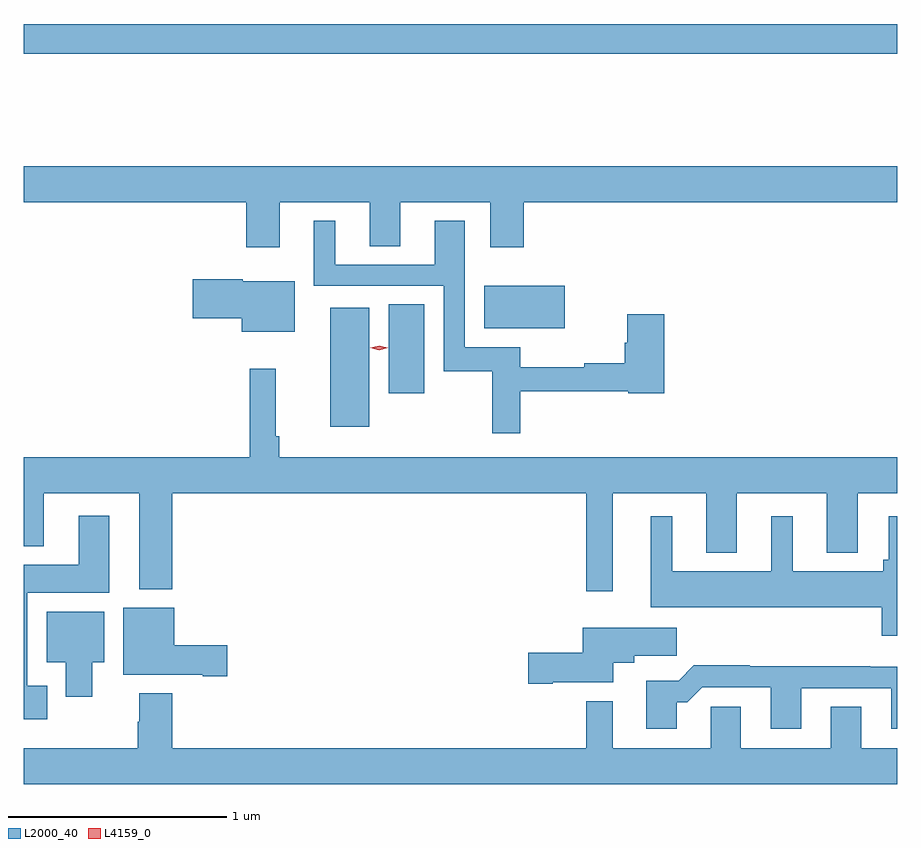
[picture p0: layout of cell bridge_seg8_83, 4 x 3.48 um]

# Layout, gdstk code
import gdstk
lib = gdstk.Library(unit=1e-6, precision=1e-09)
def R(c, l, rs):  # rectangles x0, y0, x1, y1
    for r in rs: c.add(gdstk.rectangle(r[:2], r[2:], *l))
def P(c, l, *ps):  # polygons
    for p in ps: c.add(gdstk.Polygon(p, *l))
L2000_40 = (2000, 40)
L4159_0 = (4159, 0)

bridge_seg8_83 = lib.new_cell('bridge_seg8_83')
R(bridge_seg8_83, L2000_40, [(759.167,1130.123,759.346,1130.668), (759.434,1130.277,759.598,1130.684), (759.872,1130.576,760.24,1130.77), (757.763,1131.832,761.763,1131.968)])
P(bridge_seg8_83, L2000_40, [(757.763,1131.152),(758.783,1131.152),(758.783,1130.946),(758.935,1130.946),(758.935,1131.152),(759.347,1131.152),(759.347,1130.95),(759.487,1130.95),(759.487,1131.152),(759.899,1131.152),(759.899,1130.946),(760.052,1130.946),(760.052,1131.152),(761.763,1131.152),(761.763,1131.316),(757.763,1131.316)],
  [(760.037,1130.286),(760.53,1130.286),(760.53,1130.278),(760.697,1130.278),(760.697,1130.638),(760.526,1130.638),(760.526,1130.508),(760.514,1130.508),(760.514,1130.414),(760.33,1130.414),(760.33,1130.396),(760.037,1130.396),(760.037,1130.487),(759.783,1130.487),(759.783,1131.067),(759.644,1131.067),(759.644,1130.865),(759.19,1130.865),(759.19,1131.067),(759.092,1131.067),(759.092,1130.769),(759.687,1130.769),(759.687,1130.379),(759.909,1130.379),(759.909,1130.094),(760.037,1130.094)],
  [(759.004,1130.791),(758.766,1130.791),(758.766,1130.799),(758.538,1130.799),(758.538,1130.621),(758.762,1130.621),(758.762,1130.558),(759.004,1130.558)],
  [(760.459,1129.82),(760.889,1129.82),(760.889,1129.547),(761.029,1129.547),(761.029,1129.82),(761.441,1129.82),(761.441,1129.547),(761.581,1129.547),(761.581,1129.82),(761.763,1129.82),(761.763,1129.984),(758.933,1129.984),(758.933,1130.08),(758.916,1130.08),(758.916,1130.389),(758.797,1130.389),(758.797,1129.984),(757.763,1129.984),(757.763,1129.577),(757.855,1129.577),(757.855,1129.82),(758.291,1129.82),(758.291,1129.379),(758.444,1129.379),(758.444,1129.82),(760.338,1129.82),(760.338,1129.371),(760.459,1129.371)],
  [(757.87,1128.937),(757.78,1128.937),(757.78,1129.364),(758.155,1129.364),(758.155,1129.717),(758.015,1129.717),(758.015,1129.492),(757.763,1129.492),(757.763,1128.785),(757.87,1128.785)],
  [(761.763,1129.714),(761.723,1129.714),(761.723,1129.515),(761.698,1129.515),(761.698,1129.462),(761.284,1129.462),(761.284,1129.714),(761.186,1129.714),(761.186,1129.462),(760.732,1129.462),(760.732,1129.714),(760.634,1129.714),(760.634,1129.298),(761.693,1129.298),(761.693,1129.167),(761.763,1129.167)],
  [(758.695,1129.124),(758.452,1129.124),(758.452,1129.294),(758.219,1129.294),(758.219,1128.989),(758.582,1128.989),(758.582,1128.982),(758.695,1128.982)],
  [(758.077,1129.046),(758.131,1129.046),(758.131,1129.276),(757.868,1129.276),(757.868,1129.046),(757.955,1129.046),(757.955,1128.888),(758.077,1128.888)],
  [(760.186,1128.953),(760.462,1128.953),(760.462,1129.043),(760.558,1129.043),(760.558,1129.075),(760.753,1129.075),(760.753,1129.204),(760.322,1129.204),(760.322,1129.088),(760.074,1129.088),(760.074,1128.946),(760.186,1128.946)],
  [(760.753,1128.863),(760.802,1128.863),(760.869,1128.93),(761.183,1128.93),(761.183,1128.741),(761.323,1128.741),(761.323,1128.927),(761.735,1128.927),(761.735,1128.741),(761.763,1128.741),(761.763,1129.024),(761.639,1129.024),(761.639,1129.028),(761.087,1129.028),(761.087,1129.031),(760.832,1129.031),(760.762,1128.961),(760.613,1128.961),(760.613,1128.741),(760.753,1128.741)],
  [(761.763,1128.652),(761.599,1128.652),(761.599,1128.842),(761.459,1128.842),(761.459,1128.652),(761.047,1128.652),(761.047,1128.842),(760.908,1128.842),(760.908,1128.652),(760.459,1128.652),(760.459,1128.868),(760.338,1128.868),(760.338,1128.652),(758.444,1128.652),(758.444,1128.904),(758.291,1128.904),(758.291,1128.773),(758.284,1128.773),(758.284,1128.652),(757.763,1128.652),(757.763,1128.488),(761.763,1128.488)])
P(bridge_seg8_83, L4159_0, [(759.39,1130.475),(759.35,1130.485),(759.35,1130.485),(759.35,1130.485),(759.39,1130.495),(759.429,1130.485),(759.429,1130.485),(759.429,1130.485)])

lib.write_gds('bridge_seg8_83.gds')
